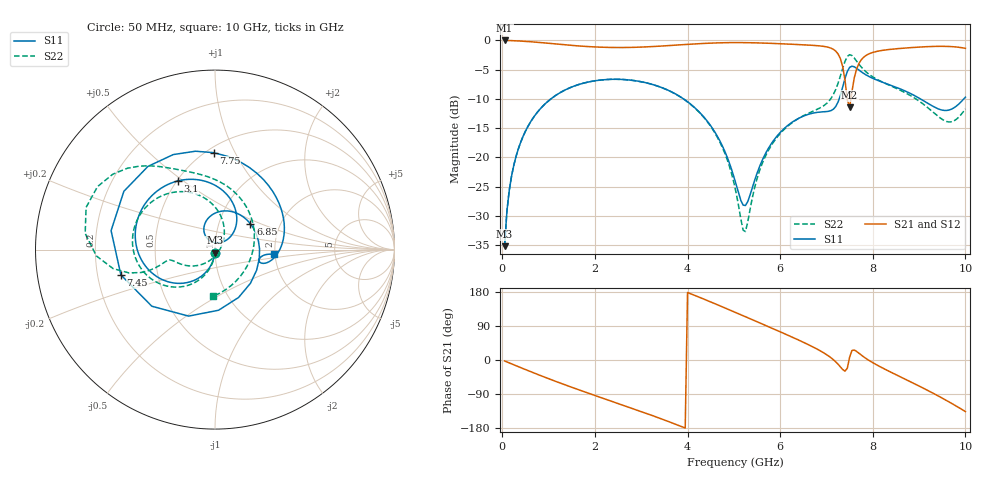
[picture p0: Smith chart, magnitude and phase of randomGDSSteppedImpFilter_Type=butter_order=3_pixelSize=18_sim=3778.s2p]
! freq	dB(S11)	phase(S11)	dB(S12)	phase(S12)
!  dB(S21)	phase(S21)	dB(S22)	phase(S22)
!S-par simulation data
#  GHz  S  DB  R 50
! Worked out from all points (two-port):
!   200 points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, 50 MHz to 10 GHz, reference 50 ohm
!   highest |S21| = 0.00 dB at 50 MHz (marker M1); lowest = -11.4 dB at 7.5 GHz (marker M2)
!   |S21| within 3 dB of the highest: start of sweep to 7.294 GHz; 7.787 GHz to end of sweep
!   lowest |S11| = -35.2 dB at 50 MHz (marker M3), VSWR 1.04, Z = 49.9 - j1.74 ohm
!   |S11| at or under -10 dB: start of sweep to 1.048 GHz; 3.917 GHz to 7.274 GHz (3.357 GHz wide, 60 % of centre); 9.031 GHz to 9.965 GHz (933.5 MHz wide, 9.83 % of centre)
!   |S22| runs from -35.1 to -2.4 dB; largest |S21 - S12| = 0
!   S11 on the Smith chart (normalised r, x): 50 MHz: 1.00, -0.03; 3.1 GHz: 0.51, +0.48; 6.85 GHz: 1.42, +0.43; 7.45 GHz: 0.30, -0.12; 7.75 GHz: 0.54, +0.83; 10 GHz: 1.96, -0.12
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0.05  -35.15 -92.7  -0.00 -2.6  -0.00 -2.6  -35.15 -92.4
0.2  -23.18 -101.2  -0.03 -10.2  -0.03 -10.2  -23.18 -100.0
0.5  -15.51 -117.4  -0.16 -25.2  -0.16 -25.2  -15.51 -114.3
1.1  -9.69 -148.0  -0.56 -54.0  -0.56 -54.0  -9.68 -141.2
1.75  -7.31 -179.1  -1.00 -82.9  -1.00 -82.9  -7.30 -167.9
3.1  -7.23 118.5  -1.10 -140.4  -1.10 -140.4  -7.23 139.9
3.4  -7.92 104.1  -0.98 -153.8  -0.98 -153.8  -7.94 127.9
4.45  -14.04 52.5  -0.47 155.8  -0.47 155.8  -14.14 81.6
5.05  -24.65 45.8  -0.37 124.8  -0.37 124.8  -26.06 36.4
5.25  -28.21 89.3  -0.38 114.3  -0.38 114.3  -32.66 -46.0
5.75  -18.39 120.8  -0.48 87.8  -0.48 87.8  -18.73 -133.2
6.7  -12.43 54.0  -0.83 35.0  -0.83 35.0  -12.13 -166.0
6.85  -12.24 35.9  -0.93 25.3  -0.93 25.3  -11.58 -167.2
7.2  -11.29 -43.6  -1.82 -4.8  -1.82 -4.8  -8.37 -162.4
7.35  -7.99 -111.7  -4.45 -25.1  -4.45 -25.1  -4.78 -169.4
7.45  -5.30 -165.0  -10.13 -21.8  -10.13 -21.8  -2.75 172.9
7.5  -4.60 169.7  -11.40 7.4  -11.40 7.4  -2.43 161.9
7.6  -4.50 128.9  -6.40 26.4  -6.40 26.4  -3.01 143.6
7.75  -5.35 90.8  -3.32 13.1  -3.32 13.1  -4.53 128.2
8.35  -7.54 24.8  -1.55 -29.7  -1.55 -29.7  -7.63 97.9
9.25  -11.03 -15.9  -1.04 -84.3  -1.04 -84.3  -11.90 33.2
10  -9.69 -4.7  -1.34 -135.9  -1.34 -135.9  -11.69 -92.2
